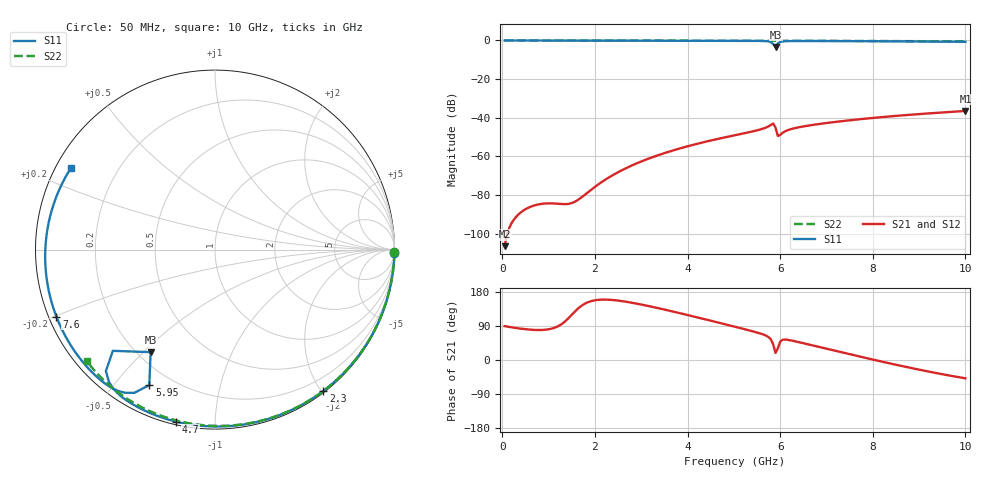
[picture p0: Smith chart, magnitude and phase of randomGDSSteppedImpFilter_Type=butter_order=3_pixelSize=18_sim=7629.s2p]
! freq	dB(S11)	phase(S11)	dB(S12)	phase(S12)
!  dB(S21)	phase(S21)	dB(S22)	phase(S22)
!S-par simulation data
#  GHz  S  DB  R 50
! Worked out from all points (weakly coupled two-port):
!   200 points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, 50 MHz to 10 GHz, reference 50 ohm
!   highest |S21| = -36.52 dB at 10 GHz (marker M1); lowest = -106.6 dB at 50 MHz (marker M2)
!   lowest |S11| = -3.4 dB at 5.9 GHz (marker M3), VSWR 5.15, Z = 12.5 - j26.3 ohm
!   |S11| at or under -10 dB: nowhere
!   |S22| runs from -0.5 to 0.0 dB; largest |S21 - S12| = 0
!   S11 on the Smith chart (normalised r, x): 50 MHz: 0, -97; 2.3 GHz: 0.02, -2.03; 4.7 GHz: 0.01, -0.80; 5.95 GHz: 0.12, -0.62; 7.6 GHz: 0.02, -0.20; 10 GHz: 0.04, +0.26
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0.05  -0.00 -1.2  -106.56 89.4  -106.56 89.4  -0.00 -0.8
0.85  -0.03 -19.8  -84.64 79.2  -84.64 79.2  -0.02 -13.6
1.75  -0.05 -40.3  -80.55 146.3  -80.55 146.3  -0.04 -27.8
2.3  -0.07 -52.5  -70.99 159.0  -70.99 159.0  -0.05 -36.3
2.8  -0.08 -63.4  -64.73 151.1  -64.73 151.1  -0.06 -43.9
3.4  -0.10 -76.1  -59.16 135.9  -59.16 135.9  -0.07 -52.8
4.05  -0.12 -89.6  -54.51 117.2  -54.51 117.2  -0.09 -62.3
4.7  -0.15 -102.8  -50.75 97.7  -50.75 97.7  -0.11 -71.5
5.05  -0.17 -110.0  -48.95 87.0  -48.95 87.0  -0.12 -76.3
5.6  -0.26 -122.7  -45.92 68.8  -45.92 68.8  -0.14 -83.8
5.7  -0.36 -126.2  -45.06 64.0  -45.06 64.0  -0.14 -85.1
5.8  -0.82 -131.9  -43.72 54.4  -43.72 54.4  -0.15 -86.5
5.85  -1.92 -135.3  -43.03 41.2  -43.03 41.2  -0.15 -87.2
5.9  -3.42 -122.1  -45.14 18.6  -45.14 18.6  -0.15 -87.8
5.95  -1.52 -115.9  -49.46 30.8  -49.46 30.8  -0.15 -88.5
6  -0.76 -119.4  -48.96 48.5  -48.96 48.5  -0.16 -89.1
6.15  -0.35 -126.2  -46.59 53.5  -46.59 53.5  -0.16 -91.1
6.7  -0.29 -139.1  -43.77 38.4  -43.77 38.4  -0.19 -98.3
7.6  -0.36 -157.1  -41.09 12.4  -41.09 12.4  -0.25 -109.7
8.35  -0.44 -172.3  -39.38 -8.5  -39.38 -8.5  -0.31 -119.0
9.2  -0.56 169.5  -37.80 -30.4  -37.80 -30.4  -0.38 -129.4
10  -0.70 150.6  -36.52 -48.4  -36.52 -48.4  -0.47 -139.1
